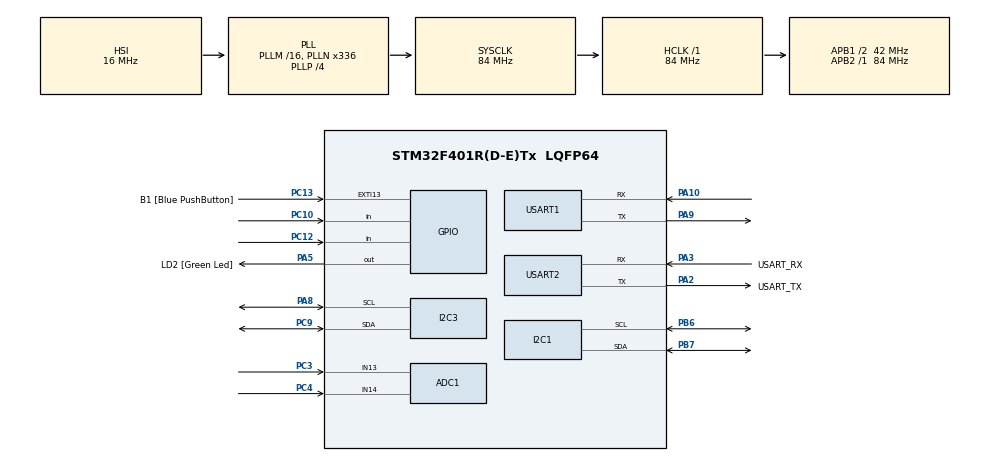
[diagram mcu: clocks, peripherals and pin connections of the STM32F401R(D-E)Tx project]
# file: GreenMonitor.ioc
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ADC1.Channel-2\#ChannelRegularConversion=ADC_CHANNEL_14
ADC1.Channel-4\#ChannelRegularConversion=ADC_CHANNEL_13
ADC1.ContinuousConvMode=ENABLE
ADC1.DMAContinuousRequests=ENABLE
ADC1.InjNumberOfConversion=0
ADC1.NbrOfConversion=2
ADC1.NbrOfConversionFlag=1
ADC1.Rank-2\#ChannelRegularConversion=1
ADC1.Rank-4\#ChannelRegularConversion=2
ADC1.SamplingTime-2\#ChannelRegularConversion=ADC_SAMPLETIME_84CYCLES
ADC1.SamplingTime-4\#ChannelRegularConversion=ADC_SAMPLETIME_84CYCLES
ADC1.ScanConvMode=ENABLE
ADC1.master=1
Dma.ADC1.0.Direction=DMA_PERIPH_TO_MEMORY
Dma.ADC1.0.FIFOMode=DMA_FIFOMODE_DISABLE
Dma.ADC1.0.Instance=DMA2_Stream0
Dma.ADC1.0.MemDataAlignment=DMA_MDATAALIGN_WORD
Dma.ADC1.0.MemInc=DMA_MINC_ENABLE
Dma.ADC1.0.Mode=DMA_CIRCULAR
Dma.ADC1.0.PeriphDataAlignment=DMA_PDATAALIGN_WORD
Dma.ADC1.0.PeriphInc=DMA_PINC_DISABLE
Dma.ADC1.0.Priority=DMA_PRIORITY_LOW
Dma.Request0=ADC1
Dma.Request1=USART2_TX
Dma.Request2=USART2_RX
Dma.Request3=USART1_RX
Dma.Request4=USART1_TX
Dma.USART1_RX.3.Direction=DMA_PERIPH_TO_MEMORY
Dma.USART1_RX.3.FIFOMode=DMA_FIFOMODE_DISABLE
Dma.USART1_RX.3.Instance=DMA2_Stream2
Dma.USART1_RX.3.MemDataAlignment=DMA_MDATAALIGN_BYTE
Dma.USART1_RX.3.MemInc=DMA_MINC_ENABLE
Dma.USART1_RX.3.Mode=DMA_CIRCULAR
Dma.USART1_RX.3.PeriphDataAlignment=DMA_PDATAALIGN_BYTE
Dma.USART1_RX.3.PeriphInc=DMA_PINC_DISABLE
Dma.USART1_RX.3.Priority=DMA_PRIORITY_LOW
Dma.USART1_TX.4.Direction=DMA_MEMORY_TO_PERIPH
Dma.USART1_TX.4.FIFOMode=DMA_FIFOMODE_DISABLE
Dma.USART1_TX.4.Instance=DMA2_Stream7
Dma.USART1_TX.4.MemDataAlignment=DMA_MDATAALIGN_BYTE
Dma.USART1_TX.4.MemInc=DMA_MINC_ENABLE
Dma.USART1_TX.4.Mode=DMA_NORMAL
Dma.USART1_TX.4.PeriphDataAlignment=DMA_PDATAALIGN_BYTE
Dma.USART1_TX.4.PeriphInc=DMA_PINC_DISABLE
Dma.USART1_TX.4.Priority=DMA_PRIORITY_LOW
Dma.USART2_RX.2.Direction=DMA_PERIPH_TO_MEMORY
Dma.USART2_RX.2.FIFOMode=DMA_FIFOMODE_DISABLE
Dma.USART2_RX.2.Instance=DMA1_Stream5
Dma.USART2_RX.2.MemDataAlignment=DMA_MDATAALIGN_BYTE
Dma.USART2_RX.2.MemInc=DMA_MINC_DISABLE
Dma.USART2_RX.2.Mode=DMA_CIRCULAR
Dma.USART2_RX.2.PeriphDataAlignment=DMA_PDATAALIGN_BYTE
Dma.USART2_RX.2.PeriphInc=DMA_PINC_DISABLE
Dma.USART2_RX.2.Priority=DMA_PRIORITY_LOW
Dma.USART2_TX.1.Direction=DMA_MEMORY_TO_PERIPH
Dma.USART2_TX.1.FIFOMode=DMA_FIFOMODE_DISABLE
Dma.USART2_TX.1.Instance=DMA1_Stream6
Dma.USART2_TX.1.MemDataAlignment=DMA_MDATAALIGN_BYTE
Dma.USART2_TX.1.MemInc=DMA_MINC_ENABLE
Dma.USART2_TX.1.Mode=DMA_NORMAL
Dma.USART2_TX.1.PeriphDataAlignment=DMA_PDATAALIGN_BYTE
Dma.USART2_TX.1.PeriphInc=DMA_PINC_DISABLE
Dma.USART2_TX.1.Priority=DMA_PRIORITY_LOW
FREERTOS.Tasks01=defaultTask,0,256,StartDefaultTask,Default,NULL,Dynamic,NULL,NULL;ToESP,0,256,StartToESP,Default,NULL,Dynamic,NULL,NULL;FromESP,0,512,StartFromESP,Default,NULL,Dynamic,NULL,NULL;DispScreen,0,256,StartDispScreen,Default,NULL,Dynamic,NULL,NULL
FREERTOS.configMINIMAL_STACK_SIZE=256
FREERTOS.configUSE_NEWLIB_REENTRANT=1
Mcu.Family=STM32F4
Mcu.Name=STM32F401R(D-E)Tx
Mcu.Package=LQFP64
NVIC.ADC_IRQn=true\:5\:0\:false\:false\:true\:true\:true\:true\:true
NVIC.DMA1_Stream5_IRQn=true\:5\:0\:false\:false\:true\:true\:false\:true\:true
NVIC.DMA1_Stream6_IRQn=true\:5\:0\:false\:false\:true\:true\:false\:true\:true
NVIC.DMA2_Stream0_IRQn=true\:5\:0\:false\:false\:true\:true\:false\:true\:true
NVIC.DMA2_Stream2_IRQn=true\:5\:0\:false\:false\:true\:true\:false\:true\:true
NVIC.DMA2_Stream7_IRQn=true\:5\:0\:false\:false\:true\:true\:false\:true\:true
NVIC.PriorityGroup=NVIC_PRIORITYGROUP_4
NVIC.TIM1_UP_TIM10_IRQn=true\:15\:0\:false\:false\:true\:false\:false\:true\:true
NVIC.TimeBase=TIM1_UP_TIM10_IRQn
NVIC.TimeBaseIP=TIM1
NVIC.USART1_IRQn=true\:5\:0\:false\:false\:true\:true\:true\:true\:true
NVIC.USART2_IRQn=true\:5\:0\:false\:false\:true\:true\:true\:true\:true
PA10.Mode=Asynchronous
PA10.Signal=USART1_RX
PA13.GPIO_Label=TMS
PA13.Mode=Serial_Wire
PA13.Signal=SYS_JTMS-SWDIO
PA14.GPIO_Label=TCK
PA14.Mode=Serial_Wire
PA14.Signal=SYS_JTCK-SWCLK
PA2.GPIO_Label=USART_TX
PA2.GPIO_Mode=GPIO_MODE_AF_PP
PA2.GPIO_PuPd=GPIO_NOPULL
PA2.GPIO_Speed=GPIO_SPEED_FREQ_LOW
PA2.Mode=Asynchronous
PA2.Signal=USART2_TX
PA3.GPIO_Label=USART_RX
PA3.GPIO_Mode=GPIO_MODE_AF_PP
PA3.GPIO_PuPd=GPIO_NOPULL
PA3.GPIO_Speed=GPIO_SPEED_FREQ_LOW
PA3.Mode=Asynchronous
PA3.Signal=USART2_RX
PA5.GPIO_Label=LD2 [Green Led]
PA5.GPIO_Mode=GPIO_MODE_OUTPUT_PP
PA5.GPIO_PuPd=GPIO_NOPULL
PA5.GPIO_Speed=GPIO_SPEED_FREQ_LOW
PA5.Signal=GPIO_Output
PA8.Mode=I2C
PA8.Signal=I2C3_SCL
PA9.Mode=Asynchronous
PA9.Signal=USART1_TX
PB3.GPIO_Label=SWO
PB3.Signal=SYS_JTDO-SWO
PB6.Mode=I2C
PB6.Signal=I2C1_SCL
PB7.Mode=I2C
PB7.Signal=I2C1_SDA
PC10.GPIO_PuPd=GPIO_PULLUP
PC10.Signal=GPIO_Input
PC12.GPIO_PuPd=GPIO_PULLUP
PC12.Signal=GPIO_Input
PC13-ANTI_TAMP.GPIO_Label=B1 [Blue PushButton]
PC13-ANTI_TAMP.GPIO_ModeDefaultEXTI=GPIO_MODE_IT_FALLING
PC13-ANTI_TAMP.GPIO_PuPd=GPIO_NOPULL
PC13-ANTI_TAMP.Signal=GPXTI13
PC14-OSC32_IN.Mode=LSE-External-Oscillator
PC14-OSC32_IN.Signal=RCC_OSC32_IN
PC15-OSC32_OUT.Mode=LSE-External-Oscillator
PC15-OSC32_OUT.Signal=RCC_OSC32_OUT
PC3.Signal=ADCx_IN13
PC4.Signal=ADCx_IN14
PC9.Mode=I2C
PC9.Signal=I2C3_SDA
PH0\ -\ OSC_IN.Mode=HSE-External-Clock-Source
PH0\ -\ OSC_IN.Signal=RCC_OSC_IN
PH1\ -\ OSC_OUT.Mode=HSE-External-Clock-Source
PH1\ -\ OSC_OUT.Signal=RCC_OSC_OUT
ProjectManager.HeapSize=0x200
ProjectManager.StackSize=0x400
ProjectManager.TargetToolchain=STM32CubeIDE
RCC.48MHZClocksFreq_Value=48000000
RCC.AHBFreq_Value=84000000
RCC.APB1CLKDivider=RCC_HCLK_DIV2
RCC.APB1Freq_Value=42000000
RCC.APB1TimFreq_Value=84000000
RCC.APB2Freq_Value=84000000
RCC.APB2TimFreq_Value=84000000
RCC.CortexFreq_Value=84000000
RCC.HCLKFreq_Value=84000000
RCC.HSE_VALUE=8000000
RCC.HSI_VALUE=16000000
RCC.PLLN=336
RCC.PLLP=RCC_PLLP_DIV4
RCC.PLLQ=7
RCC.SYSCLKFreq_VALUE=84000000
RCC.SYSCLKSource=RCC_SYSCLKSOURCE_PLLCLK
RCC.VCOOutputFreq_Value=336000000
SH.ADCx_IN13.0=ADC1_IN13,IN13
SH.ADCx_IN14.0=ADC1_IN14,IN14
USART1.VirtualMode=VM_ASYNC
USART2.VirtualMode=VM_ASYNC
VP_FREERTOS_VS_CMSIS_V1.Mode=CMSIS_V1
VP_SYS_VS_tim1.Mode=TIM1
board=NUCLEO-F401RE

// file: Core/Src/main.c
/* USER CODE BEGIN Header */
/**
 ******************************************************************************
 * @file           : main.c
 * @brief          : Main program body
 ******************************************************************************
 * @attention
 *
 * Copyright (c) 2024 STMicroelectronics.
 * All rights reserved.
 *
 * This software is licensed under terms that can be found in the LICENSE file
 * in the root directory of this software component.
 * If no LICENSE file comes with this software, it is provided AS-IS.
 *
 ******************************************************************************
 */
/* USER CODE END Header */
#include "main.h"
#include "cmsis_os.h"

/* USER CODE BEGIN Includes */
#include <stdlib.h>
#include <string.h>
#include "am2320.h"
#include "test.h"
#include "i2c-lcd.h"
/* USER CODE END Includes */

/* USER CODE BEGIN PD */
#define AM2320_ADDRESS 0x5C
#define ADC_BUFFER_SIZE 10
#define ESP_BUFFER_SIZE 502
#define AM2320_ADDRESS 0x5C
/* USER CODE END PD */

ADC_HandleTypeDef hadc1;
DMA_HandleTypeDef hdma_adc1;

I2C_HandleTypeDef hi2c1;
I2C_HandleTypeDef hi2c3;

UART_HandleTypeDef huart1;
UART_HandleTypeDef huart2;
DMA_HandleTypeDef hdma_usart1_rx;
DMA_HandleTypeDef hdma_usart1_tx;
DMA_HandleTypeDef hdma_usart2_tx;
DMA_HandleTypeDef hdma_usart2_rx;

osThreadId defaultTaskHandle;
osThreadId ToESPHandle;
osThreadId FromESPHandle;
osThreadId DispScreenHandle;

void SystemClock_Config(void);
static void MX_GPIO_Init(void);
static void MX_DMA_Init(void);
static void MX_USART2_UART_Init(void);
static void MX_ADC1_Init(void);
static void MX_USART1_UART_Init(void);
static void MX_I2C3_Init(void);
static void MX_I2C1_Init(void);
void StartDefaultTask(void const * argument);
void StartToESP(void const * argument);
void StartFromESP(void const * argument);
void StartDispScreen(void const * argument);

/* USER CODE BEGIN 0 */
float temperature_humidity_buffer [2] = {0};
uint32_t light_moisture_dma[2] = {0};

char received_data[ESP_BUFFER_SIZE];
char transmit_data[ESP_BUFFER_SIZE];

int error_code;
char time[100], temperature[100], humidity[100], uv_index[100], moisture[100], general[100];

// Parse the received data
int parsedErrorCode;
char parsedTime[150];
char parsedTemperature[150];
char parsedHumidity[150];
char parsedUVIndex[150];
char parsedMoisture[150];
char parsedGeneral[150];

/* USER CODE END 0 */

int main(void)
{

  /* MCU Configuration--------------------------------------------------------*/

  /* Reset of all peripherals, Initializes the Flash interface and the Systick. */
  HAL_Init();

  /* Configure the system clock */
  SystemClock_Config();

  /* Initialize all configured peripherals */
  MX_GPIO_Init();
  MX_DMA_Init();
  MX_USART2_UART_Init();
  MX_ADC1_Init();
  MX_USART1_UART_Init();
  MX_I2C3_Init();
  MX_I2C1_Init();

  /* Create the thread(s) */
  /* definition and creation of defaultTask */
  osThreadDef(defaultTask, StartDefaultTask, osPriorityNormal, 0, 256);
  defaultTaskHandle = osThreadCreate(osThread(defaultTask), NULL);

  /* definition and creation of ToESP */
  osThreadDef(ToESP, StartToESP, osPriorityNormal, 0, 256);
  ToESPHandle = osThreadCreate(osThread(ToESP), NULL);

  /* definition and creation of FromESP */
  osThreadDef(FromESP, StartFromESP, osPriorityNormal, 0, 512);
  FromESPHandle = osThreadCreate(osThread(FromESP), NULL);

  /* definition and creation of DispScreen */
  osThreadDef(DispScreen, StartDispScreen, osPriorityNormal, 0, 256);
  DispScreenHandle = osThreadCreate(osThread(DispScreen), NULL);

  /* Start scheduler */
  osKernelStart();

  /* We should never get here as control is now taken by the scheduler */

  /* Infinite loop */
  while (1)
  {

  }
}

void SystemClock_Config(void)
{
  RCC_OscInitTypeDef RCC_OscInitStruct = {0};
  RCC_ClkInitTypeDef RCC_ClkInitStruct = {0};

  /** Configure the main internal regulator output voltage
  */
  __HAL_RCC_PWR_CLK_ENABLE();
  __HAL_PWR_VOLTAGESCALING_CONFIG(PWR_REGULATOR_VOLTAGE_SCALE2);

  /** Initializes the RCC Oscillators according to the specified parameters
  * in the RCC_OscInitTypeDef structure.
  */
  RCC_OscInitStruct.OscillatorType = RCC_OSCILLATORTYPE_HSI;
  RCC_OscInitStruct.HSIState = RCC_HSI_ON;
  RCC_OscInitStruct.HSICalibrationValue = RCC_HSICALIBRATION_DEFAULT;
  RCC_OscInitStruct.PLL.PLLState = RCC_PLL_ON;
  RCC_OscInitStruct.PLL.PLLSource = RCC_PLLSOURCE_HSI;
  RCC_OscInitStruct.PLL.PLLM = 16;
  RCC_OscInitStruct.PLL.PLLN = 336;
  RCC_OscInitStruct.PLL.PLLP = RCC_PLLP_DIV4;
  RCC_OscInitStruct.PLL.PLLQ = 7;
  if (HAL_RCC_OscConfig(&RCC_OscInitStruct) != HAL_OK)
  {
    Error_Handler();
  }

  /** Initializes the CPU, AHB and APB buses clocks
  */
  RCC_ClkInitStruct.ClockType = RCC_CLOCKTYPE_HCLK|RCC_CLOCKTYPE_SYSCLK
                              |RCC_CLOCKTYPE_PCLK1|RCC_CLOCKTYPE_PCLK2;
  RCC_ClkInitStruct.SYSCLKSource = RCC_SYSCLKSOURCE_PLLCLK;
  RCC_ClkInitStruct.AHBCLKDivider = RCC_SYSCLK_DIV1;
  RCC_ClkInitStruct.APB1CLKDivider = RCC_HCLK_DIV2;
  RCC_ClkInitStruct.APB2CLKDivider = RCC_HCLK_DIV1;

  if (HAL_RCC_ClockConfig(&RCC_ClkInitStruct, FLASH_LATENCY_2) != HAL_OK)
  {
    Error_Handler();
  }
}

static void MX_ADC1_Init(void)
{

  ADC_ChannelConfTypeDef sConfig = {0};

  /** Configure the global features of the ADC (Clock, Resolution, Data Alignment and number of conversion)
  */
  hadc1.Instance = ADC1;
  hadc1.Init.ClockPrescaler = ADC_CLOCK_SYNC_PCLK_DIV4;
  hadc1.Init.Resolution = ADC_RESOLUTION_12B;
  hadc1.Init.ScanConvMode = ENABLE;
  hadc1.Init.ContinuousConvMode = ENABLE;
  hadc1.Init.DiscontinuousConvMode = DISABLE;
  hadc1.Init.ExternalTrigConvEdge = ADC_EXTERNALTRIGCONVEDGE_NONE;
  hadc1.Init.ExternalTrigConv = ADC_SOFTWARE_START;
  hadc1.Init.DataAlign = ADC_DATAALIGN_RIGHT;
  hadc1.Init.NbrOfConversion = 2;
  hadc1.Init.DMAContinuousRequests = ENABLE;
  hadc1.Init.EOCSelection = ADC_EOC_SINGLE_CONV;
  if (HAL_ADC_Init(&hadc1) != HAL_OK)
  {
    Error_Handler();
  }

  /** Configure for the selected ADC regular channel its corresponding rank in the sequencer and its sample time.
  */
  sConfig.Channel = ADC_CHANNEL_14;
  sConfig.Rank = 1;
  sConfig.SamplingTime = ADC_SAMPLETIME_84CYCLES;
  if (HAL_ADC_ConfigChannel(&hadc1, &sConfig) != HAL_OK)
  {
    Error_Handler();
  }

  /** Configure for the selected ADC regular channel its corresponding rank in the sequencer and its sample time.
  */
  sConfig.Channel = ADC_CHANNEL_13;
  sConfig.Rank = 2;
  if (HAL_ADC_ConfigChannel(&hadc1, &sConfig) != HAL_OK)
  {
    Error_Handler();
  }

}

static void MX_I2C1_Init(void)
{

  hi2c1.Instance = I2C1;
  hi2c1.Init.ClockSpeed = 100000;
  hi2c1.Init.DutyCycle = I2C_DUTYCYCLE_2;
  hi2c1.Init.OwnAddress1 = 0;
  hi2c1.Init.AddressingMode = I2C_ADDRESSINGMODE_7BIT;
  hi2c1.Init.DualAddressMode = I2C_DUALADDRESS_DISABLE;
  hi2c1.Init.OwnAddress2 = 0;
  hi2c1.Init.GeneralCallMode = I2C_GENERALCALL_DISABLE;
  hi2c1.Init.NoStretchMode = I2C_NOSTRETCH_DISABLE;
  if (HAL_I2C_Init(&hi2c1) != HAL_OK)
  {
    Error_Handler();
  }

}

static void MX_I2C3_Init(void)
{

  hi2c3.Instance = I2C3;
  hi2c3.Init.ClockSpeed = 100000;
  hi2c3.Init.DutyCycle = I2C_DUTYCYCLE_2;
  hi2c3.Init.OwnAddress1 = 0;
  hi2c3.Init.AddressingMode = I2C_ADDRESSINGMODE_7BIT;
  hi2c3.Init.DualAddressMode = I2C_DUALADDRESS_DISABLE;
  hi2c3.Init.OwnAddress2 = 0;
  hi2c3.Init.GeneralCallMode = I2C_GENERALCALL_DISABLE;
  hi2c3.Init.NoStretchMode = I2C_NOSTRETCH_DISABLE;
  if (HAL_I2C_Init(&hi2c3) != HAL_OK)
  {
    Error_Handler();
  }

}

static void MX_USART1_UART_Init(void)
{

  huart1.Instance = USART1;
  huart1.Init.BaudRate = 115200;
  huart1.Init.WordLength = UART_WORDLENGTH_8B;
  huart1.Init.StopBits = UART_STOPBITS_1;
  huart1.Init.Parity = UART_PARITY_NONE;
  huart1.Init.Mode = UART_MODE_TX_RX;
  huart1.Init.HwFlowCtl = UART_HWCONTROL_NONE;
  huart1.Init.OverSampling = UART_OVERSAMPLING_16;
  if (HAL_UART_Init(&huart1) != HAL_OK)
  {
    Error_Handler();
  }

}

static void MX_USART2_UART_Init(void)
{

  huart2.Instance = USART2;
  huart2.Init.BaudRate = 115200;
  huart2.Init.WordLength = UART_WORDLENGTH_8B;
  huart2.Init.StopBits = UART_STOPBITS_1;
  huart2.Init.Parity = UART_PARITY_NONE;
  huart2.Init.Mode = UART_MODE_TX_RX;
  huart2.Init.HwFlowCtl = UART_HWCONTROL_NONE;
  huart2.Init.OverSampling = UART_OVERSAMPLING_16;
  if (HAL_UART_Init(&huart2) != HAL_OK)
  {
    Error_Handler();
  }

}

static void MX_DMA_Init(void)
{

  /* DMA controller clock enable */
  __HAL_RCC_DMA2_CLK_ENABLE();
  __HAL_RCC_DMA1_CLK_ENABLE();

  /* DMA interrupt init */
  /* DMA1_Stream5_IRQn interrupt configuration */
  HAL_NVIC_SetPriority(DMA1_Stream5_IRQn, 5, 0);
  HAL_NVIC_EnableIRQ(DMA1_Stream5_IRQn);
  /* DMA1_Stream6_IRQn interrupt configuration */
  HAL_NVIC_SetPriority(DMA1_Stream6_IRQn, 5, 0);
  HAL_NVIC_EnableIRQ(DMA1_Stream6_IRQn);
  /* DMA2_Stream0_IRQn interrupt configuration */
  HAL_NVIC_SetPriority(DMA2_Stream0_IRQn, 5, 0);
  HAL_NVIC_EnableIRQ(DMA2_Stream0_IRQn);
  /* DMA2_Stream2_IRQn interrupt configuration */
  HAL_NVIC_SetPriority(DMA2_Stream2_IRQn, 5, 0);
  HAL_NVIC_EnableIRQ(DMA2_Stream2_IRQn);
  /* DMA2_Stream7_IRQn interrupt configuration */
  HAL_NVIC_SetPriority(DMA2_Stream7_IRQn, 5, 0);
  HAL_NVIC_EnableIRQ(DMA2_Stream7_IRQn);

}

static void MX_GPIO_Init(void)
{
  GPIO_InitTypeDef GPIO_InitStruct = {0};

  /* GPIO Ports Clock Enable */
  __HAL_RCC_GPIOC_CLK_ENABLE();
  __HAL_RCC_GPIOH_CLK_ENABLE();
  __HAL_RCC_GPIOA_CLK_ENABLE();
  __HAL_RCC_GPIOB_CLK_ENABLE();

  /*Configure GPIO pin Output Level */
  HAL_GPIO_WritePin(LD2_GPIO_Port, LD2_Pin, GPIO_PIN_RESET);

  /*Configure GPIO pin : B1_Pin */
  GPIO_InitStruct.Pin = B1_Pin;
  GPIO_InitStruct.Mode = GPIO_MODE_IT_FALLING;
  GPIO_InitStruct.Pull = GPIO_NOPULL;
  HAL_GPIO_Init(B1_GPIO_Port, &GPIO_InitStruct);

  /*Configure GPIO pin : LD2_Pin */
  GPIO_InitStruct.Pin = LD2_Pin;
  GPIO_InitStruct.Mode = GPIO_MODE_OUTPUT_PP;
  GPIO_InitStruct.Pull = GPIO_NOPULL;
  GPIO_InitStruct.Speed = GPIO_SPEED_FREQ_LOW;
  HAL_GPIO_Init(LD2_GPIO_Port, &GPIO_InitStruct);

  /*Configure GPIO pins : PC10 PC12 */
  GPIO_InitStruct.Pin = GPIO_PIN_10|GPIO_PIN_12;
  GPIO_InitStruct.Mode = GPIO_MODE_INPUT;
  GPIO_InitStruct.Pull = GPIO_PULLUP;
  HAL_GPIO_Init(GPIOC, &GPIO_InitStruct);

}

/* USER CODE BEGIN 4 */

void HAL_UART_RxCpltCallback(UART_HandleTypeDef *huart) {
  if (huart->Instance == USART1) {
    received_data[ESP_BUFFER_SIZE - 1] = '\0';
  }
}

/* USER CODE END 4 */

void StartDefaultTask(void const * argument)
{
  for(;;)
  {
    osDelay(1);
  }
}

void StartToESP(void const * argument)
{
  /* USER CODE BEGIN StartToESP */

  // Define buffers for sensor data
  float light_moisture_buffer[2]; // Buffer to store light and moisture data
  char buffer[100];               // Buffer to format data for UART transmission

  // Initialize ADC with DMA
  HAL_ADC_Start_DMA(&hadc1, light_moisture_dma, 2);

  /* Infinite loop */
  for(;;)
  {
    // Read temperature and humidity data
    AM2320_ReadTemperatureAndHumidity(&hi2c1, temperature_humidity_buffer, temperature_humidity_buffer+1);

    // Delay to allow data reception
    vTaskDelay(pdMS_TO_TICKS(500)); // 500 ms delay

    // Convert ADC DMA data to float
    light_moisture_buffer[0] = (float)light_moisture_dma[0];
    light_moisture_buffer[1] = (float)light_moisture_dma[1];

    // Format sensor data for transmission
    snprintf(buffer, sizeof(buffer), "%.2f,%.2f,%.2f,%.2f\n",
        temperature_humidity_buffer[0],  // Temperature
        temperature_humidity_buffer[1],  // Humidity
        light_moisture_buffer[0],        // Light level
        light_moisture_buffer[1]);       // Moisture level

    // Transmit formatted data over UART
    HAL_UART_Transmit(&huart1, (uint8_t*)buffer, strlen(buffer), HAL_MAX_DELAY);

    // Delay before the next iteration
    vTaskDelay(pdMS_TO_TICKS(1000)); // 1000 ms delay

    // Optional delay
    osDelay(1); // Small delay to yield control

  }
  /* USER CODE END StartToESP */
}

void StartFromESP(void const * argument)
{
  /* USER CODE BEGIN StartFromESP */

  // Initialize UART reception in DMA mode
  // HAL_UART_Receive_DMA(&huart1, (uint8_t*)received_data, ESP_BUFFER_SIZE);

  // Null-terminate the buffer for safety
  received_data[ESP_BUFFER_SIZE - 1] = '\0';

  // Start receiving data over UART with DMA
  HAL_UART_Receive_DMA(&huart1, (uint8_t*)received_data, ESP_BUFFER_SIZE);

  /* Infinite loop */
  for(;;)
  {
    // Optional: Direct UART receive and delay (commented out)
    // HAL_UART_Receive(&huart1, (uint8_t*)received_data, ESP_BUFFER_SIZE, HAL_MAX_DELAY);
    // vTaskDelay(pdMS_TO_TICKS(2000));

    // Parse the received data starting from the second character
    int result = sscanf(received_data,
        "%d,%49[^,],%49[^,],%49[^,],%49[^,],%49[^,],%49[^,]",
        &parsedErrorCode,
        parsedTime,
        parsedTemperature,
        parsedHumidity,
        parsedUVIndex,
        parsedMoisture,
        parsedGeneral);

    // Check if all fields were parsed successfully
    if (result == 7)
    {
      // Update global variables with parsed data
      error_code = parsedErrorCode;

      // Copy strings and ensure null-termination
      strncpy(time, parsedTime, sizeof(time) - 1);
      time[sizeof(time) - 1] = '\0';

      strncpy(temperature, parsedTemperature, sizeof(temperature) - 1);
      temperature[sizeof(temperature) - 1] = '\0';

      strncpy(humidity, parsedHumidity, sizeof(humidity) - 1);
      humidity[sizeof(humidity) - 1] = '\0';

      strncpy(uv_index, parsedUVIndex, sizeof(uv_index) - 1);
      uv_index[sizeof(uv_index) - 1] = '\0';

      strncpy(moisture, parsedMoisture, sizeof(moisture) - 1);
      moisture[sizeof(moisture) - 1] = '\0';

      strncpy(general, parsedGeneral, sizeof(general) - 1);
      general[sizeof(general) - 1] = '\0';
    }

    // Small delay to yield control
    osDelay(1);

  }
  /* USER CODE END StartFromESP */
}

void StartDispScreen(void const * argument)
{
  /* USER CODE BEGIN StartDispScreen */
  lcd_init();
  lcd_clear_display();
  /* Infinite loop */
  for(;;)
  {
    osDelay(1);
  }
  /* USER CODE END StartDispScreen */
}

void HAL_TIM_PeriodElapsedCallback(TIM_HandleTypeDef *htim)
{
  if (htim->Instance == TIM1) {
    HAL_IncTick();
  }
}

void Error_Handler(void)
{
  __disable_irq();
  while (1)
  {
  }
}
